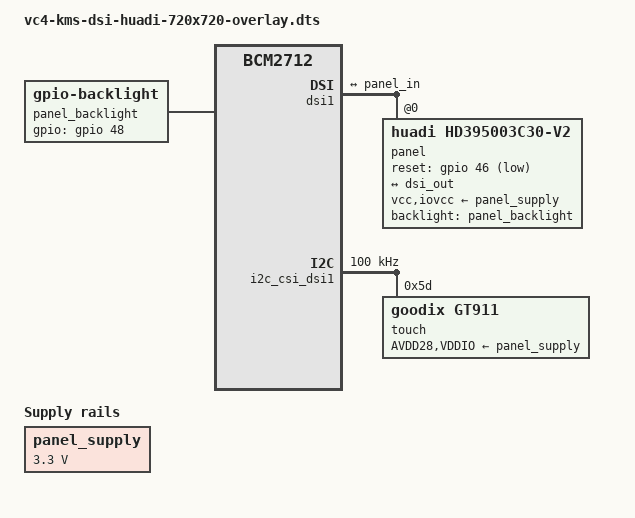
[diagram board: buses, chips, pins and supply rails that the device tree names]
// SPDX-License-Identifier: GPL-2.0-only
/dts-v1/;
/plugin/;

/* Huadi HD395003C30-V2 on the Adafruit 30-pin DSI adapter, Raspberry Pi 5. */
/ {
	compatible = "brcm,bcm2712";

	dsi_frag: fragment@0 {
		target = <&dsi1>;
		__overlay__ {
			status = "okay";
			#address-cells = <1>;
			#size-cells = <0>;
			port {
				dsi_out: endpoint {
					remote-endpoint = <&panel_in>;
				};
			};
			panel: panel@0 {
				compatible = "huadi,hd395003c30-v2";
				reg = <0>;
				reset-gpios = <&gpio 46 1>;
				vcc-supply = <&panel_supply>;
				iovcc-supply = <&panel_supply>;
				backlight = <&panel_backlight>;
				port {
					panel_in: endpoint {
						remote-endpoint = <&dsi_out>;
					};
				};
			};
		};
	};

	fragment@1 {
		target-path = "/";
		__overlay__ {
			panel_backlight: backlight-huadi {
				compatible = "gpio-backlight";
				gpios = <&gpio 48 0>;
			};
			panel_supply: regulator-huadi {
				compatible = "regulator-fixed";
				regulator-name = "huadi-3v3";
				regulator-min-microvolt = <3300000>;
				regulator-max-microvolt = <3300000>;
				regulator-always-on;
			};
		};
	};

	/* The adapter uses the camera power GPIO for panel reset. */
	reg_frag: fragment@2 {
		target = <&cam1_reg>;
		__overlay__ {
			status = "disabled";
		};
	};

	i2c_frag: fragment@3 {
		target = <&i2c_csi_dsi1>;
		__overlay__ {
			status = "okay";
			#address-cells = <1>;
			#size-cells = <0>;
			clock-frequency = <100000>;
			touch: touchscreen@5d {
				compatible = "goodix,gt911";
				reg = <0x5d>;
				AVDD28-supply = <&panel_supply>;
				VDDIO-supply = <&panel_supply>;
				touchscreen-size-x = <720>;
				touchscreen-size-y = <720>;
			};
		};
	};

	/* The adapter supervisor resets touch; GPIO wiring is optional. */
	fragment@4 {
		target = <&touch>;
		touch_reset_cfg: __dormant__ {
			/* Goodix uses physical levels; open drain for APX803. */
			reset-gpios = <&gpio 17 6>;
		};
	};

	fragment@5 {
		target = <&touch>;
		touch_irq_cfg: __dormant__ {
			interrupt-parent = <&gpio>;
			interrupts = <27 2>;
			irq-gpios = <&gpio 27 0>;
		};
	};

	__overrides__ {
		dsi0 = <&dsi_frag>, "target:0=", <&dsi0>,
		       <&i2c_frag>, "target:0=", <&i2c_csi_dsi0>,
		       <&reg_frag>, "target:0=", <&cam0_reg>,
		       <&panel>, "reset-gpios:4=34",
		       <&panel_backlight>, "gpios:4=35";
		notouch = <&touch>, "status=disabled";
		touch_reset = <0>, "+4", <&touch_reset_cfg>, "reset-gpios:4";
		touch_interrupt = <0>, "+5", <&touch_irq_cfg>, "interrupts:0",
				  <&touch_irq_cfg>, "irq-gpios:4";
		touch_inverted_x = <&touch>, "touchscreen-inverted-x?";
		touch_inverted_y = <&touch>, "touchscreen-inverted-y?";
		touch_swapped_xy = <&touch>, "touchscreen-swapped-x-y?";
	};
};
